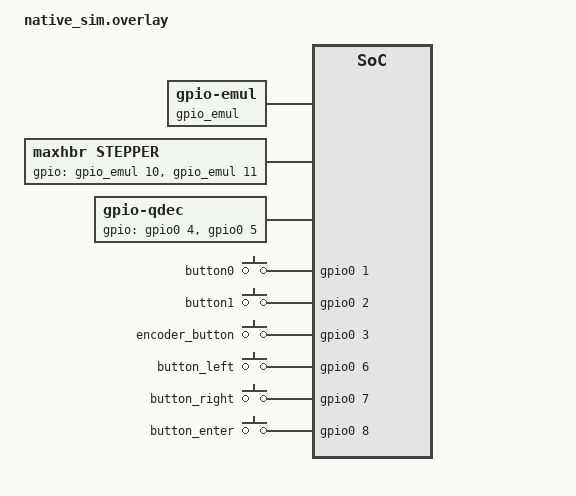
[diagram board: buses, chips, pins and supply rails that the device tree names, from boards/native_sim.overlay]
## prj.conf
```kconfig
# CONFIG_NEWLIB_LIBC=y
CONFIG_CPP=y
CONFIG_REQUIRES_FULL_LIBCPP=y
CONFIG_STD_CPP17=y

# CONFIG_EARLY_CONSOLE=y

CONFIG_HEAP_MEM_POOL_SIZE=16384
CONFIG_MAIN_STACK_SIZE=16384

# CONFIG_INIT_STACKS=y
# CONFIG_THREAD_STACK_INFO=y
# CONFIG_SYSTEM_WORKQUEUE_STACK_SIZE=4096
# # CONFIG_BT_RX_STACK_SIZE=4096

# CONFIG_CONSOLE_SUBSYS=y
# CONFIG_CONSOLE_GETLINE=y

# CONFIG_PWM=y

CONFIG_LOG=y
# CONFIG_ASSERT=y
CONFIG_SHELL=y

# CONFIG_I2C=y
# CONFIG_SPI=y

CONFIG_INPUT=y
CONFIG_GPIO=y

# ### Formatted Output
# CONFIG_CBPRINTF_FP_SUPPORT=y
# CONFIG_PRINTK=y

###############################################################################
### State machine framework
CONFIG_SMF=y
CONFIG_SMF_ANCESTOR_SUPPORT=y

###############################################################################
### zbus
CONFIG_ZBUS=y
# CONFIG_ZBUS_LOG_LEVEL_INF=y
CONFIG_ZBUS_CHANNEL_NAME=y
CONFIG_ZBUS_OBSERVER_NAME=y
CONFIG_ZBUS_RUNTIME_OBSERVERS=y

###############################################################################
### lvgl
CONFIG_DISPLAY=y
CONFIG_DISPLAY_LOG_LEVEL_ERR=y
CONFIG_LVGL=y

CONFIG_LV_Z_MEM_POOL_SIZE=16384
CONFIG_LV_Z_FLUSH_THREAD=y
CONFIG_LV_Z_FLUSH_THREAD_STACK_SIZE=2048
CONFIG_LV_Z_SHELL=y

CONFIG_LV_USE_LOG=y
CONFIG_LV_USE_LABEL=y
CONFIG_LV_USE_ARC=y
CONFIG_LV_USE_MONKEY=y
CONFIG_LV_USE_TABLE=y
CONFIG_LV_USE_TABVIEW=y
CONFIG_LV_USE_ROLLER=y

CONFIG_LV_FONT_MONTSERRAT_14=y

###############################################################################
### sensors
# CONFIG_SENSOR=n

# ###############################################################################
# ### Bluetooth
# CONFIG_BT=y
# CONFIG_BT_CENTRAL=y
# CONFIG_BT_GATT_CLIENT=y

# # Enable pairing and bonding
# CONFIG_BT_SMP=y
# CONFIG_BT_BONDABLE=y
# CONFIG_BT_SMP_SC_PAIR_ONLY=y

# # Increase BT stack sizes
# CONFIG_BT_RX_STACK_SIZE=2048
# CONFIG_BT_HCI_TX_STACK_SIZE=1024
```

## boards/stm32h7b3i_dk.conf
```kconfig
# CONFIG_USE_SEGGER_RTT=y
# CONFIG_RTT_CONSOLE=y
# CONFIG_LOG_BACKEND_RTT=y
CONFIG_UART_CONSOLE=y
CONFIG_SERIAL=y
CONFIG_LOG_BACKEND_UART=y

# ###############################################################################
# ### bluetooth
# # Bluetooth Central with bonding & GATT client
# CONFIG_BT=y
# CONFIG_BT_CENTRAL=y
# CONFIG_BT_GATT_CLIENT=y

# # Enable pairing and bonding
# CONFIG_BT_SMP=y
# CONFIG_BT_BONDABLE=y
# CONFIG_BT_SMP_SC_PAIR_ONLY=y

# # Persist bonds so the camera reconnects automatically
# CONFIG_SETTINGS=y
# CONFIG_BT_SETTINGS=y

# # Increase BT stack sizes
# CONFIG_BT_RX_STACK_SIZE=2048
# CONFIG_BT_HCI_TX_STACK_SIZE=1024

# # Additional BT settings for stability
# CONFIG_BT_BUF_ACL_RX_SIZE=251
# CONFIG_BT_BUF_ACL_TX_SIZE=251
# CONFIG_BT_L2CAP_TX_MTU=247
# CONFIG_BT_BUF_ACL_TX_COUNT=3
# CONFIG_BT_BUF_ACL_RX_COUNT=6

# # Persist bonds so the camera reconnects automatically
# CONFIG_SETTINGS=y
# CONFIG_BT_SETTINGS=y
```

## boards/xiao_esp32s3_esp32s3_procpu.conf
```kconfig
###############################################################################
### bluetooth
# Bluetooth Central with bonding & GATT client
CONFIG_BT=y
CONFIG_BT_CENTRAL=y
CONFIG_BT_SMP=y                 # pairing/bonding
CONFIG_BT_GATT_CLIENT=y

# Persist bonds so the camera reconnects automatically
CONFIG_SETTINGS=y
CONFIG_BT_SETTINGS=y
```

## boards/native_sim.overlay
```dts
/*
 * Copyright (c) 2022, Basalte bv
 *
 * SPDX-License-Identifier: Apache-2.0
 */

#include <zephyr/dt-bindings/input/input-event-codes.h>
#include <zephyr/dt-bindings/lvgl/lvgl.h>

/ {
	gpio_emul: gpio_emul {
		compatible = "zephyr,gpio-emul";
		gpio-controller;
		#gpio-cells = <2>;
		ngpios = <32>;
	};

	stepper: stepper {
		compatible = "maxhbr,stepper";
		status = "okay";
		gpios = <&gpio_emul 10 GPIO_ACTIVE_HIGH>, /* D6 */
                <&gpio_emul 11 GPIO_ACTIVE_HIGH>; /* D5 */
		// pitch = <2>;
		// pulses_per_rev = <50000>;
	};

	aliases {
		sw0 = &button0;
	};

	qdec {
		compatible = "gpio-qdec";
		gpios = <&gpio0 4 GPIO_ACTIVE_HIGH>, <&gpio0 5 GPIO_ACTIVE_HIGH>;
		steps-per-period = <4>;
		zephyr,axis = <INPUT_REL_WHEEL>;
		sample-time-us = <2000>;
		idle-timeout-ms = <200>;
	};

	keys: keys {
		compatible = "gpio-keys";
		button0: button0 {
			/* gpio0 pin 0 is already aliased to led0 */
			gpios = <&gpio0 1 GPIO_ACTIVE_HIGH>;
			zephyr,code = <INPUT_KEY_R>;
		};

		button1: button1 {
			gpios = <&gpio0 2 GPIO_ACTIVE_HIGH>;
			zephyr,code = <INPUT_KEY_B>;
		};

		encoder_button: encoder_button {
			gpios = <&gpio0 3 GPIO_ACTIVE_HIGH>;
			zephyr,code = <INPUT_KEY_0>;
		};

		button_left: button_left {
			gpios = <&gpio0 6 GPIO_ACTIVE_HIGH>;
			zephyr,code = <INPUT_KEY_LEFT>;
		};

		button_right: button_right {
			gpios = <&gpio0 7 GPIO_ACTIVE_HIGH>;
			zephyr,code = <INPUT_KEY_RIGHT>;
		};

		button_enter: button_enter {
			gpios = <&gpio0 8 GPIO_ACTIVE_HIGH>;
			zephyr,code = <INPUT_KEY_ENTER>;
		};
	};

	lvgl_button_input {
		compatible = "zephyr,lvgl-button-input";
		input = <&keys>;
		input-codes = <INPUT_KEY_B>;
		coordinates = <160 120>;
	};

	lvgl_encoder_input {
		compatible = "zephyr,lvgl-encoder-input";
		rotation-input-code = <INPUT_REL_WHEEL>;
		button-input-code = <INPUT_KEY_0>;
	};

	lvgl_keypad_input {
		compatible = "zephyr,lvgl-keypad-input";
		input = <&keys>;
		input-codes = <INPUT_KEY_LEFT INPUT_KEY_RIGHT INPUT_KEY_ENTER>;
		lvgl-codes = <LV_KEY_LEFT LV_KEY_RIGHT LV_KEY_ENTER>;
	};
};

&gpio0 {
	ngpios = <9>;

	sdl_gpio {
		status = "okay";
		compatible = "zephyr,gpio-emul-sdl";
		/* Skip pin 0 with the unknown code 0 */
		scancodes = <0 21 5 30 31 32 80 79 40>;
	};
};

&sdl_dc {
	/*height = < 272 >;*/
	/*width = < 480 >;*/
	height = < 480 >;
	width = < 800 >;
};
```

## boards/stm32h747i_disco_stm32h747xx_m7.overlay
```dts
/*
 *
 * SPDX-License-Identifier: Apache-2.0
 */


/ {
	stepper: stepper {
		compatible = "maxhbr,stepper";
		status = "okay";
		gpios = <&gpioh 10 GPIO_ACTIVE_HIGH>, /* D6 */
				<&gpioh 11 GPIO_ACTIVE_HIGH>; /* D5 */
		// pitch = <2>;
		// pulses_per_rev = <50000>;
	};
};
```

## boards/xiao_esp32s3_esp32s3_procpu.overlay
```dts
/*
 *
 * SPDX-License-Identifier: Apache-2.0
 */


/ {
	stepper: stepper {
		compatible = "maxhbr,stepper";
		status = "okay";
		gpios = <&gpio0 1 GPIO_ACTIVE_HIGH>,
				<&gpio0 2 GPIO_ACTIVE_HIGH>;
		// pitch = <2>;
		// pulses_per_rev = <50000>;
	};
};
```

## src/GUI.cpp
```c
#include "GUI.h"
#include <zephyr/kernel.h>
#include <zephyr/logging/log.h>

LOG_MODULE_REGISTER(gui, LOG_LEVEL_INF);

// Constructor
GUI::GUI(const StateMachine *sm) : LoggingGUI() { this->sm = sm; }

bool GUI::init() {
  LOG_INF("Initializing GUI");

  // Initialize base LoggingGUI first
  if (!LoggingGUI::init()) {
    return false;
  }

  add_move_tab();
  add_stack_tab();

  LOG_INF("GUI initialized successfully");
  return true;
}

static const char *btnm_map[] = {"|<", "<",   ">", ">|", "\n",
                                 "v",  "???", "^", ""};

void GUI::add_move_tab() {
  if (!tabview) {
    LOG_ERR("Tabview not initialized, cannot add move tab");
    return;
  }

  lv_obj_t *move_tab = lv_tabview_add_tab(tabview, "Move");

  lv_obj_t *btnm1 = lv_buttonmatrix_create(move_tab);
  lv_buttonmatrix_set_map(btnm1, btnm_map);
  lv_buttonmatrix_set_button_width(btnm1, 1, 2);
  lv_buttonmatrix_set_button_width(btnm1, 2, 2);
  lv_buttonmatrix_set_button_ctrl(btnm1, 5, LV_BUTTONMATRIX_CTRL_DISABLED);
  lv_buttonmatrix_set_button_width(btnm1, 5, 4);
  // lv_buttonmatrix_set_button_ctrl(btnm1, 11, LV_BUTTONMATRIX_CTRL_CHECKED);
  lv_obj_align(btnm1, LV_ALIGN_CENTER, 0, 0);
  lv_obj_set_size(btnm1, LV_PCT(100), LV_PCT(100));
}

void GUI::add_stack_tab() {
  if (!tabview) {
    LOG_ERR("Tabview not initialized, cannot add stack tab");
    return;
  }

  lv_obj_t *stack_tab = lv_tabview_add_tab(tabview, "Stack");
  // Add content to stack_tab as needed
  lv_obj_t *label = lv_label_create(stack_tab);
  lv_label_set_text(label, "Stack Tab Content");
  lv_obj_align(label, LV_ALIGN_CENTER, 0, 0);
}

void GUI::deinit() { LoggingGUI::deinit(); }

void GUI::run_task_handler() {
  struct stepper_with_target_status stepper_status =
      this->sm->get_stepper_status();
  struct stack_status stack_status = this->sm->get_stack_status();

  this->update_status(&stepper_status, &stack_status);
  LoggingGUI::run_task_handler();
}

void GUI::start() { LoggingGUI::start(); }

// Update GUI with current status
void GUI::update_status(const struct stepper_with_target_status *stepper_status,
                        const struct stack_status *stack_status) {
  if (!stepper_status || !stack_status) {
    return;
  }

  const struct stepper_status inner_stepper_status =
      stepper_status->stepper_status;

  char buf[1000];
  const int pitch_per_rev = inner_stepper_status.pitch_per_rev;
  const int pulses_per_rev = inner_stepper_status.pulses_per_rev;

  const int position_nm = position_as_nm(pitch_per_rev, pulses_per_rev,
                                         inner_stepper_status.position);

  if (stepper_status->is_moving) {
    const int target_position_nm = position_as_nm(
        pitch_per_rev, pulses_per_rev, stepper_status->target_position);
    if (stepper_status->target_position > inner_stepper_status.position) {
      snprintf(buf, sizeof(buf), "%d (-> %d)", position_nm, target_position_nm);
    } else {
      snprintf(buf, sizeof(buf), "(%d <-) %d", target_position_nm, position_nm);
    }
    LOG_DBG("Status: %s", buf);
  } else {
    snprintf(buf, sizeof(buf), "@%dnm", position_nm);
  }
  set_status(buf);
}

int GUI::position_as_nm(int pitch_per_rev, int pulses_per_rev, int position) {
  if (pulses_per_rev == 0)
    return 0;
  return (position * pitch_per_rev * 1000000) / pulses_per_rev;
}
```

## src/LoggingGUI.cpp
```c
#include "LoggingGUI.h"
#include <zephyr/kernel.h>
#include <zephyr/logging/log.h>
#include <zephyr/logging/log_backend.h>
#include <zephyr/logging/log_ctrl.h>
#include <zephyr/logging/log_output.h>

LOG_MODULE_REGISTER(logging_gui, LOG_LEVEL_INF);

#ifdef CONFIG_LOG

const int msg_data_length = 128;
// Message queue for thread-safe log handling
struct log_msg_item {
  char data[msg_data_length];
  size_t length;
};

K_MSGQ_DEFINE(log_msgq, sizeof(struct log_msg_item), 1024, 4);

// Log output function for GUI backend
static int gui_log_out(uint8_t *data, size_t length, void *ctx) {
  struct log_msg_item msg;
  size_t copy_len = MIN(length, sizeof(msg.data) - 1);
  memcpy(msg.data, data, copy_len);
  msg.data[copy_len] = '\0';
  msg.length = copy_len;

  // Try to put message in queue (non-blocking)
  k_msgq_put(&log_msgq, &msg, K_NO_WAIT);
  return length;
}

LOG_OUTPUT_DEFINE(gui_log_output, gui_log_out, NULL, 0);

// Log backend process function
static void gui_log_process(const struct log_backend *const backend,
                            union log_msg_generic *msg) {
  log_format_func_t log_output_func = log_format_func_t_get(LOG_OUTPUT_TEXT);
  log_output_func(&gui_log_output, &msg->log, 0);
}

// Log backend definition
static const struct log_backend_api gui_log_backend_api = {
    .process = gui_log_process,
};

LOG_BACKEND_DEFINE(gui_log_backend, gui_log_backend_api, false);
#endif

// Constructor
LoggingGUI::LoggingGUI() : BaseGUI(), log_textarea(nullptr) {}

bool LoggingGUI::init() {
  LOG_INF("Initializing LoggingGUI");

  // Initialize base GUI first
  if (!BaseGUI::init()) {
    return false;
  }

#ifdef CONFIG_LOG
  // Add logging functionality
  add_log_tab();
#endif

  LOG_INF("LoggingGUI initialized successfully");
  return true;
}

void LoggingGUI::deinit() {
  log_textarea = nullptr;
  BaseGUI::deinit();
}

void LoggingGUI::start() {
  BaseGUI::start();

#ifdef CONFIG_LOG
  // Enable log backend from GUI thread context
  log_backend_enable(&gui_log_backend, NULL, LOG_LEVEL_INF);
#endif
}

void LoggingGUI::run_task_handler() {
#ifdef CONFIG_LOG
  // Process any pending log messages
  struct log_msg_item msg;
  while (k_msgq_get(&log_msgq, &msg, K_NO_WAIT) == 0) {
    add_log_line(msg.data, msg.length);
  }
#endif

  BaseGUI::run_task_handler();
}

void LoggingGUI::add_log_tab() {
  if (!tabview) {
    LOG_ERR("Tabview not initialized, cannot add log tab");
    return;
  }

  lv_obj_t *log_tab = lv_tabview_add_tab(tabview, "Log");
  log_textarea = lv_textarea_create(log_tab);
  lv_obj_set_size(log_textarea, LV_PCT(100), LV_PCT(100));
  lv_obj_align(log_textarea, LV_ALIGN_CENTER, 0, 0);
  lv_textarea_set_text(log_textarea, "");
  lv_textarea_set_placeholder_text(log_textarea,
                                   "Log messages will appear here...");
  lv_obj_add_state(log_textarea, LV_STATE_DISABLED);

  lv_obj_set_scrollbar_mode(log_textarea, LV_SCROLLBAR_MODE_AUTO);
}

void LoggingGUI::add_log_line(const char *log_data, size_t length) {
  if (!log_textarea) {
    return;
  }
  char log_line[msg_data_length];
  size_t copy_len = MIN(length, msg_data_length - 1);
  memcpy(log_line, log_data, copy_len);

  log_line[copy_len] = '\0';

  const char *current_text = lv_textarea_get_text(log_textarea);
  static const int MAX_LOG_LINES = 10;
  // Walk backwards from the end, counting newlines
  size_t text_len = strlen(current_text);
  if (text_len > 0) {
    int newline_count = 0;
    const char *p = current_text + text_len - 1;
    while (p > current_text && newline_count < (MAX_LOG_LINES - 1)) {
      if (*p == '\n') {
        newline_count++;
      }
      p--;
    }
    if (newline_count >= (MAX_LOG_LINES - 1)) {
      if (*p == '\n') {
        p++;
      } else {
        while (*p && *p != '\n') {
          p++;
        }
        if (*p == '\n') {
          p++;
        }
      }
      lv_textarea_set_text(log_textarea, p);
    }
  }
  lv_textarea_add_text(log_textarea, log_line);
  lv_obj_scroll_to_y(log_textarea, LV_COORD_MAX, LV_ANIM_OFF);
}
```

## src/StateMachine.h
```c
#pragma once

#include <stdbool.h>
#include <stdio.h>
#include <stdlib.h>
#include <string.h>
#include <zephyr/device.h>
#include <zephyr/init.h>
#include <zephyr/input/input.h>
#include <zephyr/kernel.h>
#include <zephyr/types.h>
#include <zephyr/zbus/zbus.h>

#include <zephyr/smf.h>

#include <zephyr/logging/log.h>

#include "Stack.h"
#include "stepper_with_target/StepperWithTarget.h"

/* enum state_action { */
/*   NOOP_CONTROLLER_ACTION, */
/*   GO_CONTROLLER_ACTION, */
/*   GO_TO_CONTROLLER_ACTION, */
/*   SET_NEW_LOWER_BOUND_ACTION, */
/*   SET_NEW_UPPER_BOUND_ACTION, */
/*   // Stacking */
/*   START_STACK */
/* }; */

/* struct state_msg */
/* { */
/*   state_action action; */
/*   int value; */
/* }; */
/* int state_action_pub(state_msg *msg); */

enum event {
  EVENT_INPUT_KEY_0,
  EVENT_INPUT_KEY_1,
  EVENT_INPUT_KEY_2,
  EVENT_INPUT_KEY_ENTER,
  EVENT_INPUT_KEY_DOWN,
  EVENT_INPUT_KEY_UP,
  EVENT_INPUT_KEY_LEFT,
  EVENT_INPUT_KEY_RIGHT
};
struct event_msg {
  std::optional<event> evt;
};
int event_pub(event event);
void input_cb(struct input_event *evt, void *user_data);

enum stack_state {
  S0,

  S_PARENT_INTERACTIVE,
  S_INTERACTIVE_MOVE,
  S_INTERACTIVE_PRE_STACKING,

  S_PARENT_STACKING,
  S_STACK,
  S_STACK_MOVE,
  S_STACK_IMG
};

struct s_object {
  struct smf_ctx ctx;
  /* Other state specific data add here */
  const StepperWithTarget *stepper;
  const Stack stack;
};

class StateMachine {
  struct s_object s_obj;

public:
  StateMachine(const StepperWithTarget *stepper);

  int32_t run_state_machine();

  const struct stepper_with_target_status get_stepper_status() const;
  const struct stack_status get_stack_status() const;
};
```
